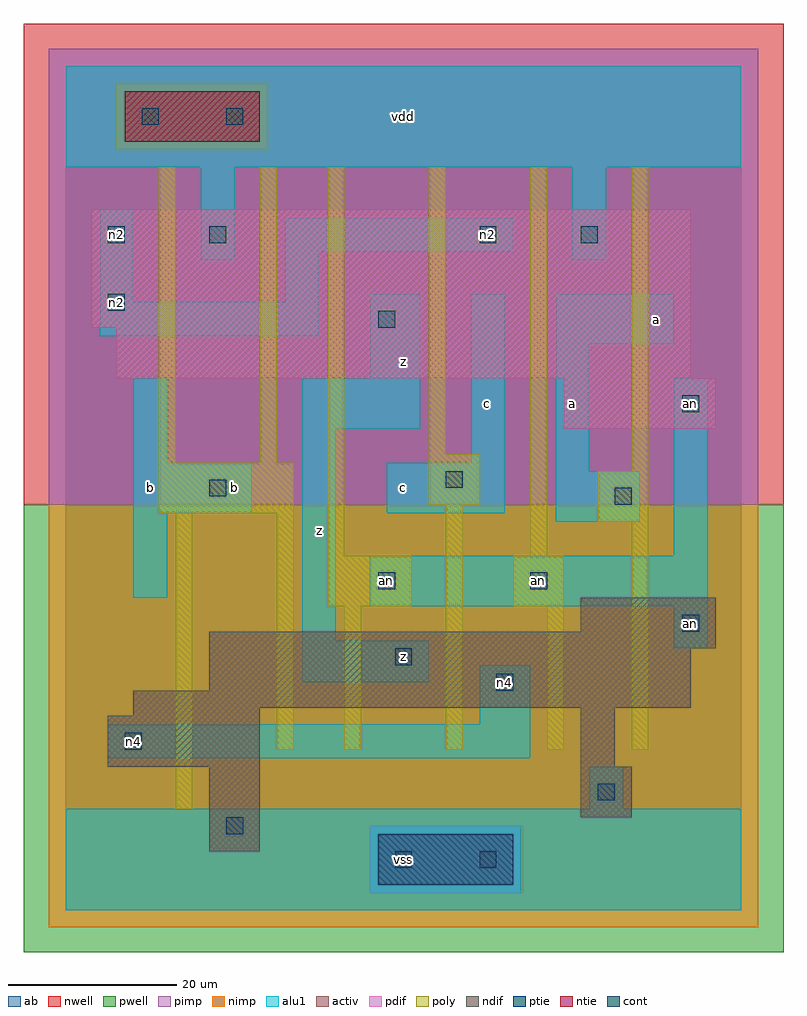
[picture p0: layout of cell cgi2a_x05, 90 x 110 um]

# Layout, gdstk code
import gdstk
lib = gdstk.Library(unit=1e-6, precision=1e-09)
def R(c, l, rs):  # rectangles x0, y0, x1, y1
    for r in rs: c.add(gdstk.rectangle(r[:2], r[2:], *l))
ndif = (3, 0)
pdif = (4, 0)
ntie = (5, 0)
ptie = (6, 0)
cont = (25, 0)
pwell = (41, 0)
nwell = (42, 0)
activ = (43, 0)
pimp = (44, 0)
nimp = (45, 0)
poly = (46, 0)
alu1 = (49, 0)
ab = (63, 0)

cgi2a_x05 = lib.new_cell('cgi2a_x05')
R(cgi2a_x05, ndif, [(17,7,23,17), (61,11,67,17), (5,17,23,23), (61,17,65,24), (8,23,23,24), (8,24,74,26), (17,26,74,31), (17,31,77,33), (61,33,77,37)])
R(cgi2a_x05, pdif, [(59,57,77,63), (6,63,74,69), (3,69,74,83)])
R(cgi2a_x05, ntie, [(7,91,23,97)])
R(cgi2a_x05, ptie, [(37,3,53,9)])
R(cgi2a_x05, cont, [(39,5,41,7), (49,5,51,7), (19,9,21,11), (63,13,65,15), (7,19,9,21), (51,26,53,28), (39,29,41,31), (73,33,75,35), (37,38,39,40), (55,38,57,40), (65,48,67,50), (17,49,19,51), (45,50,47,52), (73,59,75,61), (37,69,39,71), (5,71,7,73), (5,79,7,81), (17,79,19,81), (49,79,51,81), (61,79,63,81), (9,93,11,95), (19,93,21,95)])
R(cgi2a_x05, pwell, [(-5,-5,85,48)])
R(cgi2a_x05, nwell, [(-5,48,85,105)])
R(cgi2a_x05, activ, [(37,3,53,9), (17,7,23,17), (61,11,67,17), (5,17,23,23), (61,17,65,24), (8,23,23,24), (8,24,74,26), (17,26,74,31), (17,31,77,33), (61,33,77,37), (59,57,77,63), (6,63,74,69), (3,69,74,83), (7,91,23,97)])
R(cgi2a_x05, pimp, [(36,2,54,10), (-2,48,82,90), (-2,90,6,98), (24,90,82,98), (-2,98,82,102)])
R(cgi2a_x05, nimp, [(-2,-2,82,2), (-2,2,36,10), (54,2,82,10), (-2,10,82,48), (6,90,24,98)])
R(cgi2a_x05, poly, [(13,12,15,47), (25,19,27,47), (33,19,35,36), (45,19,47,48), (57,19,59,36), (67,19,69,46), (31,36,41,42), (53,36,59,42), (31,42,33,88), (55,42,57,88), (63,46,69,52), (11,47,27,53), (43,48,49,54), (67,52,69,88), (11,53,13,88), (23,53,25,88), (43,54,45,88)])
R(cgi2a_x05, alu1, [(0,0,80,12), (62,12,66,17), (5,18,55,22), (49,22,55,29), (28,27,43,32), (72,31,76,36), (28,32,32,57), (36,36,76,42), (8,37,12,47), (72,42,76,63), (58,46,68,52), (8,47,22,53), (38,47,52,53), (58,52,62,67), (8,53,12,63), (48,53,52,73), (28,57,42,63), (36,63,42,73), (58,67,72,73), (4,68,30,72), (4,72,8,83), (26,72,30,78), (16,77,20,88), (60,77,64,88), (26,78,53,82), (0,88,80,100)])
R(cgi2a_x05, ab, [(0,0,80,100)])
cgi2a_x05.add(gdstk.Label('n4', (8,20), layer=49, texttype=0))
cgi2a_x05.add(gdstk.Label('n2', (6,72), layer=49, texttype=0))
cgi2a_x05.add(gdstk.Label('n2', (6,80), layer=49, texttype=0))
cgi2a_x05.add(gdstk.Label('n4', (52,27), layer=49, texttype=0))
cgi2a_x05.add(gdstk.Label('an', (38,39), layer=49, texttype=0))
cgi2a_x05.add(gdstk.Label('an', (56,39), layer=49, texttype=0))
cgi2a_x05.add(gdstk.Label('n2', (50,80), layer=49, texttype=0))
cgi2a_x05.add(gdstk.Label('an', (74,34), layer=49, texttype=0))
cgi2a_x05.add(gdstk.Label('an', (74,60), layer=49, texttype=0))
cgi2a_x05.add(gdstk.Label('b', (10,50), layer=49, texttype=0))
cgi2a_x05.add(gdstk.Label('z', (30,45), layer=49, texttype=0))
cgi2a_x05.add(gdstk.Label('b', (20,50), layer=49, texttype=0))
cgi2a_x05.add(gdstk.Label('vss', (40,6), layer=49, texttype=0))
cgi2a_x05.add(gdstk.Label('z', (40,30), layer=49, texttype=0))
cgi2a_x05.add(gdstk.Label('c', (40,50), layer=49, texttype=0))
cgi2a_x05.add(gdstk.Label('z', (40,65), layer=49, texttype=0))
cgi2a_x05.add(gdstk.Label('c', (50,60), layer=49, texttype=0))
cgi2a_x05.add(gdstk.Label('vdd', (40,94), layer=49, texttype=0))
cgi2a_x05.add(gdstk.Label('a', (60,60), layer=49, texttype=0))
cgi2a_x05.add(gdstk.Label('a', (70,70), layer=49, texttype=0))

lib.write_gds('cgi2a_x05.gds')
